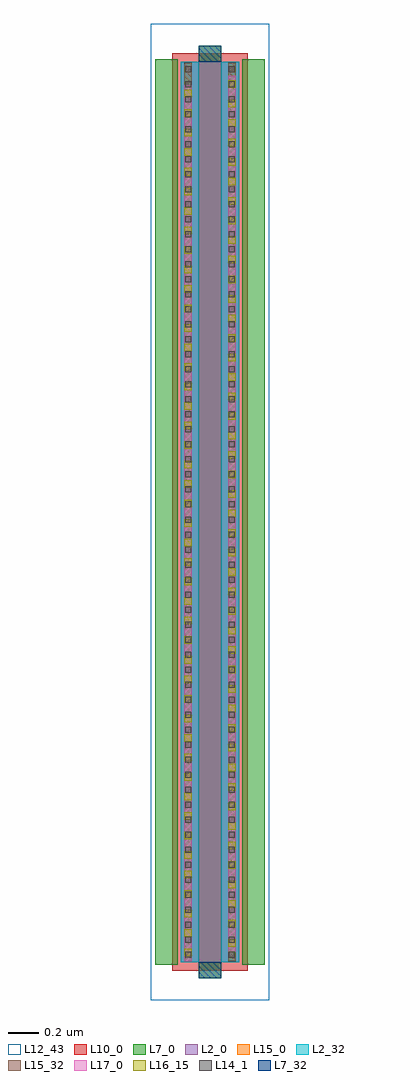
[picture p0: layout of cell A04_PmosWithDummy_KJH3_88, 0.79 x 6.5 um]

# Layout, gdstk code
import gdstk
lib = gdstk.Library(unit=1e-6, precision=1e-09)
def R(c, l, rs):  # rectangles x0, y0, x1, y1
    for r in rs: c.add(gdstk.rectangle(r[:2], r[2:], *l))
def A(c, l, x, y, w, h, nx, ny, dx, dy):  # array of equal rectangles
    R(c, l, [(x+i*dx, y+j*dy, x+i*dx+w, y+j*dy+h) for i in range(nx) for j in range(ny)])
L2_0 = (2, 0)
L2_32 = (2, 32)
L7_0 = (7, 0)
L7_32 = (7, 32)
L10_0 = (10, 0)
L12_43 = (12, 43)
L14_1 = (14, 1)
L15_0 = (15, 0)
L15_32 = (15, 32)
L16_15 = (16, 15)
L17_0 = (17, 0)

a04_pmoswithdummy_kjh3_8 = lib.new_cell('A04_PmosWithDummy_KJH3_88:SRF_Source_ViaM1M2:SRF_ViaM1M2')
R(a04_pmoswithdummy_kjh3_8, L15_0, [(0,-5.752,0.05,0.082)])
A(a04_pmoswithdummy_kjh3_8, L16_15, 0, -5.72, 0.05, 0.05, 1, 45, 0, 0.13)
R(a04_pmoswithdummy_kjh3_8, L17_0, [(0,-5.752,0.05,0.082)])

c_a04_pmoswithdummy_kjh3_8 = lib.new_cell('A04_PmosWithDummy_KJH3_88:SRF_Source_ViaM1M2')
c_a04_pmoswithdummy_kjh3_8.add(gdstk.Reference(a04_pmoswithdummy_kjh3_8, (-0.025,2.835)))

c_a04_pmoswithdummy_kjh3_8_ = lib.new_cell('A04_PmosWithDummy_KJH3_88:SRF_Drain_ViaM1M2:SRF_ViaM1M2')
R(c_a04_pmoswithdummy_kjh3_8_, L15_0, [(0,-5.752,0.05,0.082)])
A(c_a04_pmoswithdummy_kjh3_8_, L16_15, 0, -5.72, 0.05, 0.05, 1, 45, 0, 0.13)
R(c_a04_pmoswithdummy_kjh3_8_, L17_0, [(0,-5.752,0.05,0.082)])

c_a04_pmoswithdummy_kjh3_8__ = lib.new_cell('A04_PmosWithDummy_KJH3_88:SRF_Drain_ViaM1M2')
c_a04_pmoswithdummy_kjh3_8__.add(gdstk.Reference(c_a04_pmoswithdummy_kjh3_8_, (-0.025,2.835)))

c_a04_pmoswithdummy_kjh3_8___ = lib.new_cell('A04_PmosWithDummy_KJH3_88')
R(c_a04_pmoswithdummy_kjh3_8___, L2_0, [(-0.12,0.105,0.27,6.105)])
R(c_a04_pmoswithdummy_kjh3_8___, L2_32, [(-0.12,0.105,0,6.105), (0.15,0.105,0.27,6.105)])
R(c_a04_pmoswithdummy_kjh3_8___, L7_0, [(0,0,0.15,6.21), (-0.29,0.089,-0.14,6.121), (0.29,0.089,0.44,6.121)])
R(c_a04_pmoswithdummy_kjh3_8___, L7_32, [(0,0,0.15,0.105), (0,6.105,0.15,6.21)])
R(c_a04_pmoswithdummy_kjh3_8___, L10_0, [(-0.176,0.049,0.326,6.161)])
R(c_a04_pmoswithdummy_kjh3_8___, L12_43, [(-0.32,-0.145,0.47,6.355)])
A(c_a04_pmoswithdummy_kjh3_8___, L14_1, -0.09, 0.135, 0.04, 0.04, 1, 60, 0, 0.1)
A(c_a04_pmoswithdummy_kjh3_8___, L14_1, 0.2, 0.135, 0.04, 0.04, 1, 60, 0, 0.1)
R(c_a04_pmoswithdummy_kjh3_8___, L15_0, [(-0.095,0.114,-0.045,6.096), (-0.095,0.114,-0.045,6.096), (0.195,0.114,0.245,6.096), (0.195,0.114,0.245,6.096)])
R(c_a04_pmoswithdummy_kjh3_8___, L15_32, [(-0.095,0.114,-0.045,6.096), (0.195,0.114,0.245,6.096)])
c_a04_pmoswithdummy_kjh3_8___.add(gdstk.Reference(c_a04_pmoswithdummy_kjh3_8, (-0.07,3.031)))
c_a04_pmoswithdummy_kjh3_8___.add(gdstk.Reference(c_a04_pmoswithdummy_kjh3_8__, (0.22,3.095)))

lib.write_gds('A04_PmosWithDummy_KJH3_88.gds')
